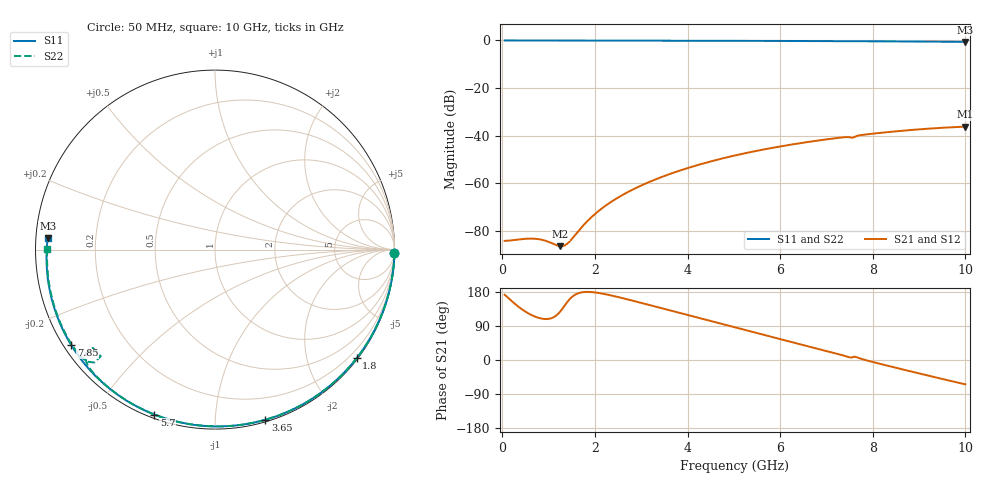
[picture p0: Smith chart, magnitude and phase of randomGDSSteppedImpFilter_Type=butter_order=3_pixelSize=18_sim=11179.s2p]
! freq	dB(S11)	phase(S11)	dB(S12)	phase(S12)
!  dB(S21)	phase(S21)	dB(S22)	phase(S22)
!S-par simulation data
#  GHz  S  DB  R 50
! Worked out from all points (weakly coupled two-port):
!   200 points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, 50 MHz to 10 GHz, reference 50 ohm
!   highest |S21| = -36.22 dB at 10 GHz (marker M1); lowest = -86.4 dB at 1.25 GHz (marker M2)
!   lowest |S11| = -0.6 dB at 10 GHz (marker M3), VSWR 29.49, Z = 1.7 + j1.75 ohm
!   |S11| at or under -10 dB: nowhere
!   |S22| runs from -1.2 to 0.0 dB; largest |S21 - S12| = 0
!   S11 on the Smith chart (normalised r, x): 50 MHz: open; 1.8 GHz: 0.03, -2.95; 3.65 GHz: 0.02, -1.34; 5.7 GHz: 0.02, -0.70; 7.85 GHz: 0.02, -0.30; 10 GHz: 0.03, +0.03
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0.05  -0.00 -1.1  -84.20 172.1  -84.20 172.1  -0.00 -1.0
1.25  -0.03 -26.2  -86.43 127.8  -86.43 127.8  -0.03 -25.6
1.65  -0.04 -34.4  -79.92 176.6  -79.92 176.6  -0.04 -33.6
1.75  -0.05 -36.5  -77.69 179.2  -77.69 179.2  -0.05 -35.6
1.8  -0.05 -37.5  -76.65 179.7  -76.65 179.7  -0.05 -36.6
2.1  -0.06 -43.5  -71.33 176.5  -71.33 176.5  -0.05 -42.5
2.45  -0.06 -50.5  -66.59 167.6  -66.59 167.6  -0.06 -49.3
2.9  -0.08 -59.3  -61.85 153.9  -61.85 153.9  -0.07 -57.9
3.4  -0.09 -68.9  -57.68 138.0  -57.68 138.0  -0.09 -67.3
3.65  -0.10 -73.6  -55.89 130.0  -55.89 130.0  -0.10 -71.9
4.35  -0.12 -86.4  -51.63 107.6  -51.63 107.6  -0.12 -84.6
5.05  -0.15 -98.9  -48.21 85.3  -48.21 85.3  -0.15 -96.8
5.7  -0.18 -110.2  -45.59 64.6  -45.59 64.6  -0.18 -108.0
6.7  -0.25 -127.1  -42.37 33.2  -42.37 33.2  -0.25 -124.9
7.45  -0.30 -139.7  -40.60 8.8  -40.60 8.8  -0.47 -139.5
7.55  -0.31 -141.4  -40.89 6.5  -40.89 6.5  -1.17 -141.2
7.6  -0.32 -142.2  -40.64 8.8  -40.64 8.8  -1.20 -137.0
7.65  -0.32 -143.0  -40.15 7.4  -40.15 7.4  -0.72 -136.9
7.85  -0.34 -146.4  -39.49 -0.4  -39.49 -0.4  -0.39 -142.1
8.35  -0.39 -154.8  -38.46 -16.0  -38.46 -16.0  -0.39 -151.2
9.2  -0.48 -169.5  -37.06 -41.3  -37.06 -41.3  -0.49 -166.0
10  -0.59 176.0  -36.22 -64.3  -36.22 -64.3  -0.59 179.7
